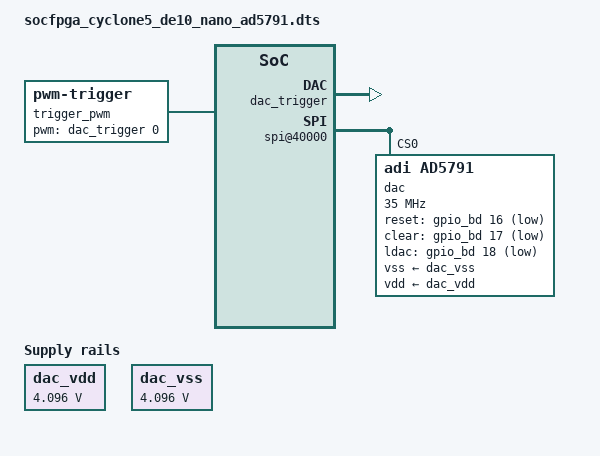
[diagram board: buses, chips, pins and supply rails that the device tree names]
// SPDX-License-Identifier: GPL-2.0
/*
 * Analog Devices AD5791
 * https://www.analog.com/en/products/ad5791.html
 * https://analogdevicesinc.github.io/hdl/projects/ad57xx_ardz/index.html
 * https://www.analog.com/en/resources/evaluation-hardware-and-software/evaluation-boards-kits/EVAL-AD5791ARDZ.html
 * https://wiki.analog.com/resources/tools-software/linux-build/generic/socfpga
 *
 * hdl_project: <ad57xx_ardz/de10nano>
 * board_revision: <B>
 *
 * Copyright (C) 2024 Analog Devices Inc.
 */
/dts-v1/;
#include "socfpga_cyclone5_de10_nano_hps.dtsi"
#include <dt-bindings/interrupt-controller/irq.h>
#include <dt-bindings/gpio/gpio.h>

/ {
	dac_vdd: regulator-vdd {
		compatible = "regulator-fixed";
		regulator-name = "fixed-supply";
		regulator-min-microvolt = <4096000>;
		regulator-max-microvolt = <4096000>;
		regulator-always-on;
	};

	dac_vss: regulator-vss {
		compatible = "regulator-fixed";
		regulator-name = "fixed-supply";
		regulator-min-microvolt = <4096000>;
		regulator-max-microvolt = <4096000>;
		regulator-always-on;
	};

	trigger_pwm: adc-trigger-pwm {
		compatible = "pwm-trigger";
		#trigger-source-cells = <0>;
		pwms = <&dac_trigger 0 10000 0>;
	};
};

&fpga_axi {
	dac_trigger: pwm@50000 {
		compatible = "adi,axi-pwmgen-2.00.a";
		reg = <0x00050000 0x1000>;
		#pwm-cells = <3>;
		clocks = <&sys_clk>, <&spi_clk 0>;
		clock-names = "axi", "ext";
	};

	tx_dma: dma-controller@30000 {
		compatible = "adi,axi-dmac-1.00.a";
		reg = <0x00030000 0x00000800>;
		#dma-cells = <1>;
		interrupt-parent = <&intc>;
		interrupts = <0 44 IRQ_TYPE_LEVEL_HIGH>;
		clocks = <&spi_clk 0>;
	};

	spi_clk: clock-controller@60000 {
		compatible = "altr,c5-fpll";
		reg = <0x00060000 0x00000100>;
		#clock-cells = <0x1>;

		#address-cells = <1>;
		#size-cells = <0>;
		clocks = <&sys_clk>;
		assigned-clocks = <&spi_clk 0>;
		assigned-clock-rates = <185000000>;
		clock-output-names = "outclk0";
		adi,fractional-carry-bit = <32>;

		spi_c0: channel@0 {
			reg = <0>;
			adi,extended-name = "SPI_CLOCK";
		};
	};

	spi@40000 {
		compatible = "adi,axi-spi-engine-1.00.a";
		reg = <0x00040000 0x00010000>;
		interrupt-parent = <&intc>;
		interrupts = <0 45 IRQ_TYPE_LEVEL_HIGH>;
		clocks = <&sys_clk>, <&spi_clk 0>;
		clock-names = "s_axi_aclk", "spi_clk";

		dmas = <&tx_dma 0>;
		dma-names = "offload0-tx";
		trigger-sources = <&trigger_pwm>;

		#address-cells = <0x1>;
		#size-cells = <0x0>;

		dac@0 {
			compatible = "adi,ad5791";
			reg = <0>;
			spi-cpha;
			spi-max-frequency = <35000000>;
			vss-supply = <&dac_vss>;
			vdd-supply = <&dac_vdd>;
			reset-gpios = <&gpio_bd 16 GPIO_ACTIVE_LOW>;
			clear-gpios = <&gpio_bd 17 GPIO_ACTIVE_LOW>;
			ldac-gpios = <&gpio_bd 18 GPIO_ACTIVE_LOW>;
		};
	};
};
